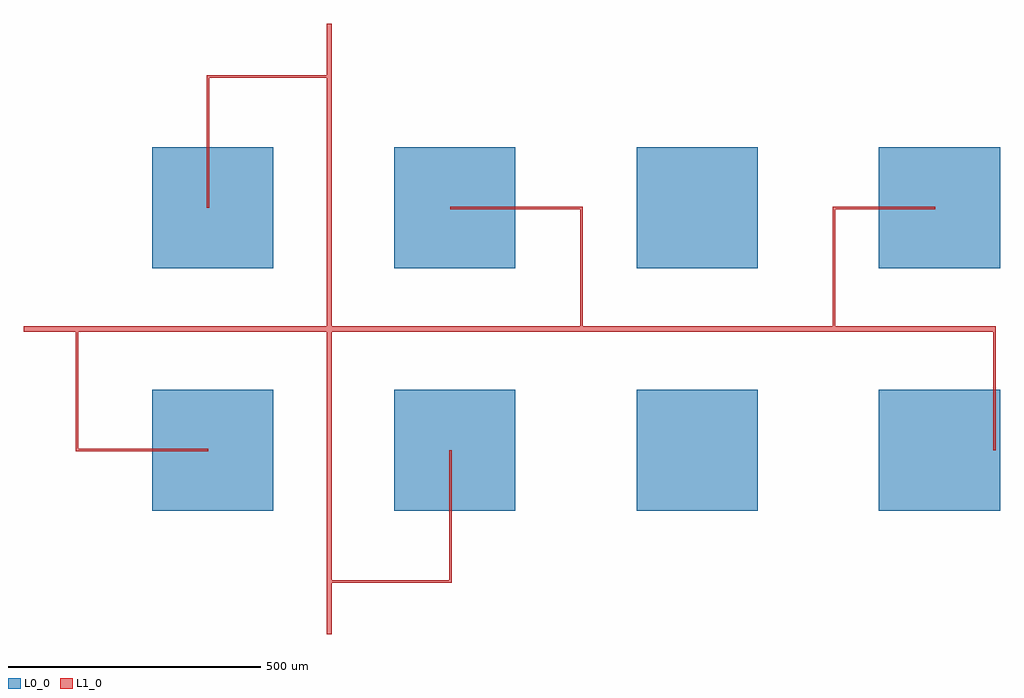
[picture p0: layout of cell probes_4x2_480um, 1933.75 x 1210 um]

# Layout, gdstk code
import gdstk
lib = gdstk.Library(unit=1e-6, precision=1e-09)
def R(c, l, rs):  # rectangles x0, y0, x1, y1
    for r in rs: c.add(gdstk.rectangle(r[:2], r[2:], *l))
def A(c, l, x, y, w, h, nx, ny, dx, dy):  # array of equal rectangles
    R(c, l, [(x+i*dx, y+j*dy, x+i*dx+w, y+j*dy+h) for i in range(nx) for j in range(ny)])
def P(c, l, *ps):  # polygons
    for p in ps: c.add(gdstk.Polygon(p, *l))
L0_0 = (0, 0)
L1_0 = (1, 0)

probes_4x2_480um = lib.new_cell('probes_4x2_480um')
A(probes_4x2_480um, L0_0, -840, -360, 240, 240, 4, 2, 480, 480)
R(probes_4x2_480um, L1_0, [(-493.75,-605,-483.75,605), (826.25,-240,831.25,0), (-1093.75,-5,831.25,5)])
P(probes_4x2_480um, L1_0, [(-731.25,240),(-731.25,502.5),(-488.75,502.5),(-488.75,497.5),(-726.25,497.5),(-726.25,240)],
  [(-488.75,-502.5),(-488.75,-497.5),(-251.25,-497.5),(-251.25,-240),(-246.25,-240),(-246.25,-502.5)],
  [(-991.25,-242.5),(-991.25,0),(-986.25,0),(-986.25,-237.5),(-728.75,-237.5),(-728.75,-242.5)],
  [(8.75,0),(8.75,237.5),(-248.75,237.5),(-248.75,242.5),(13.75,242.5),(13.75,0)],
  [(508.75,0),(508.75,242.5),(711.25,242.5),(711.25,237.5),(513.75,237.5),(513.75,0)])

lib.write_gds('probes_4x2_480um.gds')
